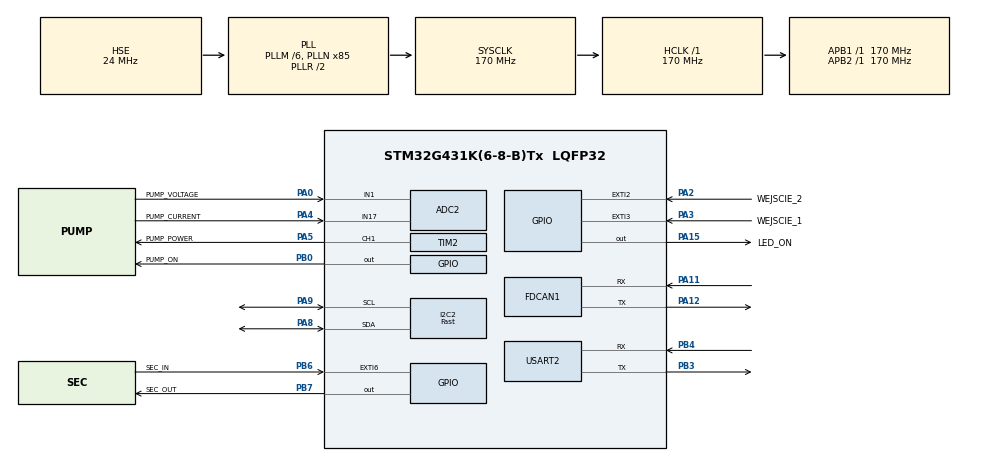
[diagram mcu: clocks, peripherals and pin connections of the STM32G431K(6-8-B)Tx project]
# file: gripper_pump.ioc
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ADC2.Channel-0\#ChannelRegularConversion=ADC_CHANNEL_1
ADC2.Channel-1\#ChannelRegularConversion=ADC_CHANNEL_17
ADC2.EnableAnalogWatchDog1=false
ADC2.NbrOfConversion=2
ADC2.NbrOfConversionFlag=1
ADC2.OffsetNumber-0\#ChannelRegularConversion=ADC_OFFSET_NONE
ADC2.OffsetNumber-1\#ChannelRegularConversion=ADC_OFFSET_NONE
ADC2.Rank-0\#ChannelRegularConversion=1
ADC2.Rank-1\#ChannelRegularConversion=2
ADC2.SamplingTime-0\#ChannelRegularConversion=ADC_SAMPLETIME_92CYCLES_5
ADC2.SamplingTime-1\#ChannelRegularConversion=ADC_SAMPLETIME_92CYCLES_5
FDCAN1.AutoRetransmission=ENABLE
FDCAN1.ClockDivider=FDCAN_CLOCK_DIV2
FDCAN1.DataSyncJumpWidth=2
FDCAN1.DataTimeSeg1=12
FDCAN1.DataTimeSeg2=4
FDCAN1.FrameFormat=FDCAN_FRAME_FD_BRS
FDCAN1.NominalPrescaler=5
FDCAN1.NominalSyncJumpWidth=2
FDCAN1.NominalTimeSeg1=12
FDCAN1.NominalTimeSeg2=4
FDCAN1.StdFiltersNbr=2
FDCAN1.TransmitPause=ENABLE
I2C2.I2C_Speed_Mode=I2C_Fast
I2C2.Timing=0x10802D9B
Mcu.Family=STM32G4
Mcu.Name=STM32G431K(6-8-B)Tx
Mcu.Package=LQFP32
NVIC.EXTI9_5_IRQn=true\:5\:0\:true\:false\:true\:true\:true\:true
NVIC.FDCAN1_IT0_IRQn=true\:5\:0\:true\:false\:true\:true\:true\:true
NVIC.PriorityGroup=NVIC_PRIORITYGROUP_4
NVIC.TIM6_DAC_IRQn=true\:5\:0\:true\:false\:true\:true\:true\:true
NVIC.TIM7_IRQn=true\:6\:0\:true\:false\:true\:true\:true\:true
PA0.GPIO_Label=PUMP_VOLTAGE
PA0.Signal=SharedAnalog_PA0
PA11.Mode=FDCAN_Activate
PA11.Signal=FDCAN1_RX
PA12.Mode=FDCAN_Activate
PA12.Signal=FDCAN1_TX
PA13.Mode=Serial_Wire
PA13.Signal=SYS_JTMS-SWDIO
PA14.Mode=Serial_Wire
PA14.Signal=SYS_JTCK-SWCLK
PA15.GPIO_Label=LED_ON
PA15.Signal=GPIO_Output
PA2.GPIO_Label=WEJSCIE_2
PA2.Signal=GPXTI2
PA3.GPIO_Label=WEJSCIE_1
PA3.Signal=GPXTI3
PA4.GPIO_Label=PUMP_CURRENT
PA4.Signal=SharedAnalog_PA4
PA5.GPIO_Label=PUMP_POWER
PA5.Signal=S_TIM2_CH1
PA8.Mode=I2C
PA8.Signal=I2C2_SDA
PA9.Mode=I2C
PA9.Signal=I2C2_SCL
PB0.GPIO_Label=PUMP_ON
PB0.Signal=GPIO_Output
PB3.Mode=Asynchronous
PB3.Signal=USART2_TX
PB4.Mode=Asynchronous
PB4.Signal=USART2_RX
PB6.GPIO_Label=SEC_IN
PB6.Signal=GPXTI6
PB7.GPIO_Label=SEC_OUT
PB7.Signal=GPIO_Output
PF0-OSC_IN.Mode=HSE-External-Oscillator
PF0-OSC_IN.Signal=RCC_OSC_IN
PF1-OSC_OUT.Mode=HSE-External-Oscillator
PF1-OSC_OUT.Signal=RCC_OSC_OUT
ProjectManager.HeapSize=0x200
ProjectManager.StackSize=0x400
ProjectManager.TargetToolchain=MDK-ARM V5.32
RCC.ADC12Freq_Value=170000000
RCC.AHBFreq_Value=170000000
RCC.APB1Freq_Value=170000000
RCC.APB1TimFreq_Value=170000000
RCC.APB2Freq_Value=170000000
RCC.APB2TimFreq_Value=170000000
RCC.CortexFreq_Value=170000000
RCC.EXTERNAL_CLOCK_VALUE=12288000
RCC.HCLKFreq_Value=170000000
RCC.HSE_VALUE=24000000
RCC.HSI48_VALUE=48000000
RCC.HSI_VALUE=16000000
RCC.LSE_VALUE=32768
RCC.PLLM=RCC_PLLM_DIV6
RCC.PLLN=85
RCC.PLLSourceVirtual=RCC_PLLSOURCE_HSE
RCC.SYSCLKFreq_VALUE=170000000
RCC.SYSCLKSource=RCC_SYSCLKSOURCE_PLLCLK
RCC.USBFreq_Value=170000000
RCC.VCOOutputFreq_Value=340000000
SH.S_TIM2_CH1.0=TIM2_CH1,PWM Generation1 CH1
SH.SharedAnalog_PA0.0=GPIO_Analog
SH.SharedAnalog_PA0.1=ADC2_IN1,IN1-Single-Ended
SH.SharedAnalog_PA4.0=GPIO_Analog
SH.SharedAnalog_PA4.1=ADC2_IN17,IN17-Single-Ended
TIM2.Channel-PWM\ Generation1\ CH1=TIM_CHANNEL_1
TIM2.PeriodNoDither=999
TIM2.Prescaler=1
TIM2.PulseNoDither_1=1
TIM6.PeriodNoDither=16999
TIM7.PeriodNoDither=16999
TIM7.Prescaler=9
USART2.VirtualMode-Asynchronous=VM_ASYNC
VP_SYS_VS_DBSignals.Mode=DisableDeadBatterySignals
VP_TIM6_VS_ClockSourceINT.Mode=Enable_Timer
VP_TIM7_VS_ClockSourceINT.Mode=Enable_Timer
board=custom

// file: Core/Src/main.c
/* USER CODE BEGIN Header */
/**
  ******************************************************************************
  * @file           : main.c
  * @brief          : Main program body
  ******************************************************************************
  * @attention
  *
  * Copyright (c) 2022 STMicroelectronics.
  * All rights reserved.
  *
  * This software is licensed under terms that can be found in the LICENSE file
  * in the root directory of this software component.
  * If no LICENSE file comes with this software, it is provided AS-IS.
  *
  ******************************************************************************
  */
/* USER CODE END Header */
#include "main.h"

/* USER CODE BEGIN Includes */
#include "fsm.h"

/* USER CODE END Includes */

/* USER CODE BEGIN PTD */
typedef struct Counters_Handle {
	uint32_t main_loop;
	uint32_t timer6;
	uint32_t timer7;
	uint32_t adc2_counter;
	uint32_t can_rx_counter;
	uint32_t can_tx_counter;
	uint32_t spi_rx_counter;
	uint32_t spi_tx_counter;
	uint32_t spi_txrx_counter;
} __attribute__ ((packed)) Counters_Handle_t;

typedef struct Gripper_Pump_Configuration_Handle {
	uint8_t can_node_id;
	bool safety_enabled;
//	bool canbus_enabled;
//	bool canbus_watchdog_enabled;
} __attribute__ ((packed)) Gripper_Pump_Configuration_Handle_t;

typedef struct Gripper_Pump_Command_Handle {
	bool enable_pump;			//
} __attribute__ ((packed)) Gripper_Pump_Command_Handle_t;
typedef struct _Status_Handle {
	uint16_t pump_current;
	uint16_t pump_voltage;
	bool b_pump_is_working; // current over "0" limit
	bool b_pressure_level_1; // input from sensor - level 1
	bool b_pressure_level_2; // input from sensor - level 2

	uint8_t errors;
	uint8_t warnings;
} __attribute__ ((packed)) Gripper_Pump_Status_Handle_t;
/* USER CODE END PTD */

 ADC_HandleTypeDef hadc2;

FDCAN_HandleTypeDef hfdcan1;

I2C_HandleTypeDef hi2c2;

TIM_HandleTypeDef htim2;
TIM_HandleTypeDef htim6;
TIM_HandleTypeDef htim7;

UART_HandleTypeDef huart2;

/* USER CODE BEGIN PV */
FDCAN_RxHeaderTypeDef can_rx_header; // CAN Bus Transmit Header
FDCAN_TxHeaderTypeDef can_tx_header; // CAN Bus Transmit Header
uint8_t can_rx_data[24] = {0,0,0,0,0,0,0,0,0,0,0,0,0,0,0,0,0,0,0,0,0,0,0,0};  //CAN Bus Receive Buffer
uint8_t can_tx_data[24] = {0,0,0,0,0,0,0,0,0,0,0,0,0,0,0,0,0,0,0,0,0,0,0,0};  //CAN Bus Send Buffer

Gripper_Pump_Configuration_Handle_t g_gripper_pump_configuration = {
	.safety_enabled = false,
	.can_node_id = 0x06,
};

volatile Counters_Handle_t g_counters = {
	.main_loop = 0,
	.timer6 = 0,
	.timer7 = 0,
	.spi_rx_counter = 0,
	.spi_tx_counter = 0,
	.spi_txrx_counter = 0,
};

volatile FSMStatus_t 	g_fsm_status = {
	.state = FSM_START,
	.state_is_running = false,
	.transition_is_running = false,
};

Gripper_Pump_Command_Handle_t g_gripper_pump_command = {
	.enable_pump = false,
};
volatile Gripper_Pump_Status_Handle_t 	g_gripper_pump_status = {

};

/* USER CODE END PV */

void SystemClock_Config(void);
static void MX_GPIO_Init(void);
static void MX_ADC2_Init(void);
static void MX_FDCAN1_Init(void);
static void MX_TIM6_Init(void);
static void MX_TIM7_Init(void);
static void MX_TIM2_Init(void);
static void MX_I2C2_Init(void);
static void MX_USART2_UART_Init(void);
/* USER CODE BEGIN PFP */
void Gripper_Pump_Init(void);
static void setPWM(TIM_HandleTypeDef, uint32_t, uint16_t, uint16_t);
/* USER CODE END PFP */

int main(void)
{

  /* MCU Configuration--------------------------------------------------------*/

  /* Reset of all peripherals, Initializes the Flash interface and the Systick. */
  HAL_Init();

  /* Configure the system clock */
  SystemClock_Config();

  /* Initialize all configured peripherals */
  MX_GPIO_Init();
  MX_ADC2_Init();
  MX_FDCAN1_Init();
  MX_TIM6_Init();
  MX_TIM7_Init();
  MX_TIM2_Init();
  MX_I2C2_Init();
  MX_USART2_UART_Init();
  /* USER CODE BEGIN 2 */
	Gripper_Pump_Init();
//	HAL_TIM_Base_Start_IT(&htim2);
//HAL_TIM_PWM_Start(&htim2, TIM_CHANNEL_1);
  /* USER CODE END 2 */

  /* Infinite loop */
  while (1)
  {

    /* USER CODE BEGIN 3 */
//		TIM2->CCR1 = 30;
//	HAL_TIM_PWM_Start(&htim2, TIM_CHANNEL_1);
		g_counters.main_loop++;
		 //TIM1->CCR1 = 30;
//		TIM2->CCR1 = 30;
//		HAL_TIM_PWM_Start(&htim2, TIM_CHANNEL_1);
  }
  /* USER CODE END 3 */
}

void SystemClock_Config(void)
{
  RCC_OscInitTypeDef RCC_OscInitStruct = {0};
  RCC_ClkInitTypeDef RCC_ClkInitStruct = {0};

  /** Configure the main internal regulator output voltage
  */
  HAL_PWREx_ControlVoltageScaling(PWR_REGULATOR_VOLTAGE_SCALE1_BOOST);

  /** Initializes the RCC Oscillators according to the specified parameters
  * in the RCC_OscInitTypeDef structure.
  */
  RCC_OscInitStruct.OscillatorType = RCC_OSCILLATORTYPE_HSE;
  RCC_OscInitStruct.HSEState = RCC_HSE_ON;
  RCC_OscInitStruct.PLL.PLLState = RCC_PLL_ON;
  RCC_OscInitStruct.PLL.PLLSource = RCC_PLLSOURCE_HSE;
  RCC_OscInitStruct.PLL.PLLM = RCC_PLLM_DIV6;
  RCC_OscInitStruct.PLL.PLLN = 85;
  RCC_OscInitStruct.PLL.PLLP = RCC_PLLP_DIV2;
  RCC_OscInitStruct.PLL.PLLQ = RCC_PLLQ_DIV2;
  RCC_OscInitStruct.PLL.PLLR = RCC_PLLR_DIV2;
  if (HAL_RCC_OscConfig(&RCC_OscInitStruct) != HAL_OK)
  {
    Error_Handler();
  }

  /** Initializes the CPU, AHB and APB buses clocks
  */
  RCC_ClkInitStruct.ClockType = RCC_CLOCKTYPE_HCLK|RCC_CLOCKTYPE_SYSCLK
                              |RCC_CLOCKTYPE_PCLK1|RCC_CLOCKTYPE_PCLK2;
  RCC_ClkInitStruct.SYSCLKSource = RCC_SYSCLKSOURCE_PLLCLK;
  RCC_ClkInitStruct.AHBCLKDivider = RCC_SYSCLK_DIV1;
  RCC_ClkInitStruct.APB1CLKDivider = RCC_HCLK_DIV1;
  RCC_ClkInitStruct.APB2CLKDivider = RCC_HCLK_DIV1;

  if (HAL_RCC_ClockConfig(&RCC_ClkInitStruct, FLASH_LATENCY_4) != HAL_OK)
  {
    Error_Handler();
  }
}

static void MX_ADC2_Init(void)
{

  ADC_ChannelConfTypeDef sConfig = {0};

  /** Common config
  */
  hadc2.Instance = ADC2;
  hadc2.Init.ClockPrescaler = ADC_CLOCK_SYNC_PCLK_DIV4;
  hadc2.Init.Resolution = ADC_RESOLUTION_12B;
  hadc2.Init.DataAlign = ADC_DATAALIGN_RIGHT;
  hadc2.Init.GainCompensation = 0;
  hadc2.Init.ScanConvMode = ADC_SCAN_ENABLE;
  hadc2.Init.EOCSelection = ADC_EOC_SINGLE_CONV;
  hadc2.Init.LowPowerAutoWait = DISABLE;
  hadc2.Init.ContinuousConvMode = DISABLE;
  hadc2.Init.NbrOfConversion = 2;
  hadc2.Init.DiscontinuousConvMode = DISABLE;
  hadc2.Init.ExternalTrigConv = ADC_SOFTWARE_START;
  hadc2.Init.ExternalTrigConvEdge = ADC_EXTERNALTRIGCONVEDGE_NONE;
  hadc2.Init.DMAContinuousRequests = DISABLE;
  hadc2.Init.Overrun = ADC_OVR_DATA_PRESERVED;
  hadc2.Init.OversamplingMode = DISABLE;
  if (HAL_ADC_Init(&hadc2) != HAL_OK)
  {
    Error_Handler();
  }

  /** Configure Regular Channel
  */
  sConfig.Channel = ADC_CHANNEL_1;
  sConfig.Rank = ADC_REGULAR_RANK_1;
  sConfig.SamplingTime = ADC_SAMPLETIME_92CYCLES_5;
  sConfig.SingleDiff = ADC_SINGLE_ENDED;
  sConfig.OffsetNumber = ADC_OFFSET_NONE;
  sConfig.Offset = 0;
  if (HAL_ADC_ConfigChannel(&hadc2, &sConfig) != HAL_OK)
  {
    Error_Handler();
  }

  /** Configure Regular Channel
  */
  sConfig.Channel = ADC_CHANNEL_17;
  sConfig.Rank = ADC_REGULAR_RANK_2;
  if (HAL_ADC_ConfigChannel(&hadc2, &sConfig) != HAL_OK)
  {
    Error_Handler();
  }

}

static void MX_FDCAN1_Init(void)
{

  hfdcan1.Instance = FDCAN1;
  hfdcan1.Init.ClockDivider = FDCAN_CLOCK_DIV2;
  hfdcan1.Init.FrameFormat = FDCAN_FRAME_FD_BRS;
  hfdcan1.Init.Mode = FDCAN_MODE_NORMAL;
  hfdcan1.Init.AutoRetransmission = ENABLE;
  hfdcan1.Init.TransmitPause = ENABLE;
  hfdcan1.Init.ProtocolException = DISABLE;
  hfdcan1.Init.NominalPrescaler = 5;
  hfdcan1.Init.NominalSyncJumpWidth = 2;
  hfdcan1.Init.NominalTimeSeg1 = 12;
  hfdcan1.Init.NominalTimeSeg2 = 4;
  hfdcan1.Init.DataPrescaler = 1;
  hfdcan1.Init.DataSyncJumpWidth = 2;
  hfdcan1.Init.DataTimeSeg1 = 12;
  hfdcan1.Init.DataTimeSeg2 = 4;
  hfdcan1.Init.StdFiltersNbr = 2;
  hfdcan1.Init.ExtFiltersNbr = 0;
  hfdcan1.Init.TxFifoQueueMode = FDCAN_TX_FIFO_OPERATION;
  if (HAL_FDCAN_Init(&hfdcan1) != HAL_OK)
  {
    Error_Handler();
  }

}

static void MX_I2C2_Init(void)
{

  hi2c2.Instance = I2C2;
  hi2c2.Init.Timing = 0x10802D9B;
  hi2c2.Init.OwnAddress1 = 0;
  hi2c2.Init.AddressingMode = I2C_ADDRESSINGMODE_7BIT;
  hi2c2.Init.DualAddressMode = I2C_DUALADDRESS_DISABLE;
  hi2c2.Init.OwnAddress2 = 0;
  hi2c2.Init.OwnAddress2Masks = I2C_OA2_NOMASK;
  hi2c2.Init.GeneralCallMode = I2C_GENERALCALL_DISABLE;
  hi2c2.Init.NoStretchMode = I2C_NOSTRETCH_DISABLE;
  if (HAL_I2C_Init(&hi2c2) != HAL_OK)
  {
    Error_Handler();
  }

  /** Configure Analogue filter
  */
  if (HAL_I2CEx_ConfigAnalogFilter(&hi2c2, I2C_ANALOGFILTER_ENABLE) != HAL_OK)
  {
    Error_Handler();
  }

  /** Configure Digital filter
  */
  if (HAL_I2CEx_ConfigDigitalFilter(&hi2c2, 0) != HAL_OK)
  {
    Error_Handler();
  }

}

static void MX_TIM2_Init(void)
{

  TIM_MasterConfigTypeDef sMasterConfig = {0};
  TIM_OC_InitTypeDef sConfigOC = {0};

  htim2.Instance = TIM2;
  htim2.Init.Prescaler = 1;
  htim2.Init.CounterMode = TIM_COUNTERMODE_UP;
  htim2.Init.Period = 999;
  htim2.Init.ClockDivision = TIM_CLOCKDIVISION_DIV1;
  htim2.Init.AutoReloadPreload = TIM_AUTORELOAD_PRELOAD_DISABLE;
  if (HAL_TIM_PWM_Init(&htim2) != HAL_OK)
  {
    Error_Handler();
  }
  sMasterConfig.MasterOutputTrigger = TIM_TRGO_RESET;
  sMasterConfig.MasterSlaveMode = TIM_MASTERSLAVEMODE_DISABLE;
  if (HAL_TIMEx_MasterConfigSynchronization(&htim2, &sMasterConfig) != HAL_OK)
  {
    Error_Handler();
  }
  sConfigOC.OCMode = TIM_OCMODE_PWM1;
  sConfigOC.Pulse = 1;
  sConfigOC.OCPolarity = TIM_OCPOLARITY_HIGH;
  sConfigOC.OCFastMode = TIM_OCFAST_DISABLE;
  if (HAL_TIM_PWM_ConfigChannel(&htim2, &sConfigOC, TIM_CHANNEL_1) != HAL_OK)
  {
    Error_Handler();
  }
  HAL_TIM_MspPostInit(&htim2);

}

static void MX_TIM6_Init(void)
{

  TIM_MasterConfigTypeDef sMasterConfig = {0};

  htim6.Instance = TIM6;
  htim6.Init.Prescaler = 0;
  htim6.Init.CounterMode = TIM_COUNTERMODE_UP;
  htim6.Init.Period = 16999;
  htim6.Init.AutoReloadPreload = TIM_AUTORELOAD_PRELOAD_DISABLE;
  if (HAL_TIM_Base_Init(&htim6) != HAL_OK)
  {
    Error_Handler();
  }
  sMasterConfig.MasterOutputTrigger = TIM_TRGO_RESET;
  sMasterConfig.MasterSlaveMode = TIM_MASTERSLAVEMODE_DISABLE;
  if (HAL_TIMEx_MasterConfigSynchronization(&htim6, &sMasterConfig) != HAL_OK)
  {
    Error_Handler();
  }

}

static void MX_TIM7_Init(void)
{

  TIM_MasterConfigTypeDef sMasterConfig = {0};

  htim7.Instance = TIM7;
  htim7.Init.Prescaler = 9;
  htim7.Init.CounterMode = TIM_COUNTERMODE_UP;
  htim7.Init.Period = 16999;
  htim7.Init.AutoReloadPreload = TIM_AUTORELOAD_PRELOAD_DISABLE;
  if (HAL_TIM_Base_Init(&htim7) != HAL_OK)
  {
    Error_Handler();
  }
  sMasterConfig.MasterOutputTrigger = TIM_TRGO_RESET;
  sMasterConfig.MasterSlaveMode = TIM_MASTERSLAVEMODE_DISABLE;
  if (HAL_TIMEx_MasterConfigSynchronization(&htim7, &sMasterConfig) != HAL_OK)
  {
    Error_Handler();
  }

}

static void MX_USART2_UART_Init(void)
{

  huart2.Instance = USART2;
  huart2.Init.BaudRate = 115200;
  huart2.Init.WordLength = UART_WORDLENGTH_8B;
  huart2.Init.StopBits = UART_STOPBITS_1;
  huart2.Init.Parity = UART_PARITY_NONE;
  huart2.Init.Mode = UART_MODE_TX_RX;
  huart2.Init.HwFlowCtl = UART_HWCONTROL_NONE;
  huart2.Init.OverSampling = UART_OVERSAMPLING_16;
  huart2.Init.OneBitSampling = UART_ONE_BIT_SAMPLE_DISABLE;
  huart2.Init.ClockPrescaler = UART_PRESCALER_DIV1;
  huart2.AdvancedInit.AdvFeatureInit = UART_ADVFEATURE_NO_INIT;
  if (HAL_UART_Init(&huart2) != HAL_OK)
  {
    Error_Handler();
  }
  if (HAL_UARTEx_SetTxFifoThreshold(&huart2, UART_TXFIFO_THRESHOLD_1_8) != HAL_OK)
  {
    Error_Handler();
  }
  if (HAL_UARTEx_SetRxFifoThreshold(&huart2, UART_RXFIFO_THRESHOLD_1_8) != HAL_OK)
  {
    Error_Handler();
  }
  if (HAL_UARTEx_DisableFifoMode(&huart2) != HAL_OK)
  {
    Error_Handler();
  }

}

static void MX_GPIO_Init(void)
{
  GPIO_InitTypeDef GPIO_InitStruct = {0};

  /* GPIO Ports Clock Enable */
  __HAL_RCC_GPIOF_CLK_ENABLE();
  __HAL_RCC_GPIOA_CLK_ENABLE();
  __HAL_RCC_GPIOB_CLK_ENABLE();

  /*Configure GPIO pin Output Level */
  HAL_GPIO_WritePin(GPIOB, PUMP_ON_Pin|SEC_OUT_Pin, GPIO_PIN_RESET);

  /*Configure GPIO pin Output Level */
  HAL_GPIO_WritePin(LED_ON_GPIO_Port, LED_ON_Pin, GPIO_PIN_RESET);

  /*Configure GPIO pins : WEJSCIE_2_Pin WEJSCIE_1_Pin */
  GPIO_InitStruct.Pin = WEJSCIE_2_Pin|WEJSCIE_1_Pin;
  GPIO_InitStruct.Mode = GPIO_MODE_IT_RISING;
  GPIO_InitStruct.Pull = GPIO_NOPULL;
  HAL_GPIO_Init(GPIOA, &GPIO_InitStruct);

  /*Configure GPIO pins : PUMP_ON_Pin SEC_OUT_Pin */
  GPIO_InitStruct.Pin = PUMP_ON_Pin|SEC_OUT_Pin;
  GPIO_InitStruct.Mode = GPIO_MODE_OUTPUT_PP;
  GPIO_InitStruct.Pull = GPIO_NOPULL;
  GPIO_InitStruct.Speed = GPIO_SPEED_FREQ_LOW;
  HAL_GPIO_Init(GPIOB, &GPIO_InitStruct);

  /*Configure GPIO pin : LED_ON_Pin */
  GPIO_InitStruct.Pin = LED_ON_Pin;
  GPIO_InitStruct.Mode = GPIO_MODE_OUTPUT_PP;
  GPIO_InitStruct.Pull = GPIO_NOPULL;
  GPIO_InitStruct.Speed = GPIO_SPEED_FREQ_LOW;
  HAL_GPIO_Init(LED_ON_GPIO_Port, &GPIO_InitStruct);

  /*Configure GPIO pin : SEC_IN_Pin */
  GPIO_InitStruct.Pin = SEC_IN_Pin;
  GPIO_InitStruct.Mode = GPIO_MODE_IT_RISING;
  GPIO_InitStruct.Pull = GPIO_NOPULL;
  HAL_GPIO_Init(SEC_IN_GPIO_Port, &GPIO_InitStruct);

  /* EXTI interrupt init*/
  HAL_NVIC_SetPriority(EXTI9_5_IRQn, 5, 0);
  HAL_NVIC_EnableIRQ(EXTI9_5_IRQn);

}

/* USER CODE BEGIN 4 */
void setPWM(TIM_HandleTypeDef timer, uint32_t channel, uint16_t period, uint16_t pulse)
{
 HAL_TIM_PWM_Stop(&timer, channel); // stop generation of pwm
 TIM_OC_InitTypeDef sConfigOC;
 timer.Init.Period = period; // set the period duration
 HAL_TIM_PWM_Init(&timer); // reinititialise with new period value
 sConfigOC.OCMode = TIM_OCMODE_PWM1;
 sConfigOC.Pulse = pulse; // set the pulse duration
 sConfigOC.OCPolarity = TIM_OCPOLARITY_HIGH;
 sConfigOC.OCFastMode = TIM_OCFAST_DISABLE;
 HAL_TIM_PWM_ConfigChannel(&timer, &sConfigOC, channel);
 HAL_TIM_PWM_Start(&timer, channel); // start pwm generation
}

void Gripper_Pump_Init() {
	// TIMERS
	HAL_TIM_Base_Start_IT(&htim6); 	// Enable 10 kHz timer for fast calculation
	HAL_TIM_Base_Start_IT(&htim7);  	// Enable  1 kHz timer for FSM
}

// CAN FD
void FDCAN_Set_Filters() {
	// CAN FILTERS
	FDCAN_FilterTypeDef   can_filter_config_0; // BROADCAST
	can_filter_config_0.IdType = FDCAN_STANDARD_ID;
	can_filter_config_0.FilterIndex = 0;
	can_filter_config_0.FilterType = FDCAN_FILTER_MASK;
	can_filter_config_0.FilterConfig = FDCAN_FILTER_TO_RXFIFO0;
	can_filter_config_0.FilterID1 = 0x0F0;
	can_filter_config_0.FilterID2 = 0x70F ;
	HAL_FDCAN_ConfigFilter(&hfdcan1, &can_filter_config_0); //Initialize CAN Filter

	FDCAN_FilterTypeDef   can_filter_config_1; // UNICAST
	can_filter_config_1.IdType = FDCAN_STANDARD_ID;
	can_filter_config_1.FilterIndex = 1;
	can_filter_config_1.FilterType = FDCAN_FILTER_MASK;
	can_filter_config_1.FilterConfig = FDCAN_FILTER_TO_RXFIFO0;
	can_filter_config_1.FilterID1 = 0x100 + g_gripper_pump_configuration.can_node_id;
	can_filter_config_1.FilterID2 = 0x70F;
	HAL_FDCAN_ConfigFilter(&hfdcan1, &can_filter_config_1); //Initialize CAN Filter

}

// FSM
void FSM_START_Callback()
{
	HAL_TIM_Base_Stop_IT(&htim6); // Disable 10 kHz timer

//	FLASH_Configuration_Load(); // Read configuration from FLASH

	// FDCAN
	HAL_FDCAN_ConfigTxDelayCompensation(&hfdcan1, 10, 0);
	HAL_FDCAN_EnableTxDelayCompensation(&hfdcan1);

	FDCAN_Set_Filters();

	HAL_FDCAN_ConfigGlobalFilter(&hfdcan1, 3, 3, FDCAN_FILTER_REMOTE, FDCAN_REJECT_REMOTE);
	HAL_FDCAN_Start(&hfdcan1); //Initialize CAN Bus
	HAL_FDCAN_ActivateNotification(&hfdcan1, FDCAN_IT_RX_FIFO0_NEW_MESSAGE, 0);// Initialize CAN Bus Rx Interrupt
	HAL_FDCAN_EnableISOMode(&hfdcan1);

	// Start ADC readings
	// HAL_ADC_Start_IT(&hadc2);

	HAL_TIM_Base_Start_IT(&htim6); // Enable 10 kHz timer
}

void FSM_READY_TO_OPERATE_Callback()
{
	g_gripper_pump_command.enable_pump = false;
	HAL_GPIO_WritePin(PUMP_ON_GPIO_Port, PUMP_ON_Pin, GPIO_PIN_RESET);
	HAL_GPIO_WritePin(LED_ON_GPIO_Port, LED_ON_Pin, GPIO_PIN_RESET);
	g_gripper_pump_status.b_pressure_level_1 = (HAL_GPIO_ReadPin(WEJSCIE_1_GPIO_Port, WEJSCIE_1_Pin) == GPIO_PIN_SET) ? (0) : (1);
	g_gripper_pump_status.b_pressure_level_2 = (HAL_GPIO_ReadPin(WEJSCIE_2_GPIO_Port, WEJSCIE_2_Pin) == GPIO_PIN_SET) ? (0) : (1);
}

void FSM_OPERATION_ENABLE_Callback()
{
	HAL_GPIO_WritePin(LED_ON_GPIO_Port, LED_ON_Pin, GPIO_PIN_SET);
	if (g_gripper_pump_command.enable_pump)
	{
		HAL_GPIO_WritePin(PUMP_ON_GPIO_Port, PUMP_ON_Pin, GPIO_PIN_SET);
	}
	else
	{
		HAL_GPIO_WritePin(PUMP_ON_GPIO_Port, PUMP_ON_Pin, GPIO_PIN_RESET);
	}
}

void HAL_ADC_ConvCpltCallback(ADC_HandleTypeDef* hadc)
{
  // Read & Update The ADC Result
  g_gripper_pump_status.pump_current = HAL_ADC_GetValue(&hadc2);
	g_counters.adc2_counter++;
	HAL_ADC_Start_IT(&hadc2);
}

void HAL_GPIO_EXTI_Callback(uint16_t GPIO_Pin)
{
	// SECURITY ALERT
    if(GPIO_Pin == SEC_IN_Pin && g_gripper_pump_configuration.safety_enabled == true && g_fsm_status.state == FSM_OPERATION_ENABLE) // If The INT Source Is EXTI Line9 (A9 Pin)
    {
			FSM_Activate_Transition(FSM_TRANSITION_OPERATION_ENABLE_TO_READY_TO_OPERATE);
    }
}

void HAL_TIM_PeriodElapsedCallback(TIM_HandleTypeDef *htim)
{
	if(htim->Instance == TIM2)
	{
		g_counters.spi_tx_counter++;
	}

	if(htim->Instance == TIM6) 	// 10kHz (5,0) - fast recalculation
	{
		g_counters.timer6++;
	}

	if(htim->Instance == TIM7) 	// 1kHz - FSM_Tasks
	{
		//setPWM(htim2, TIM_CHANNEL_1, 255, 100);
		// read
		g_gripper_pump_status.b_pressure_level_1 = (HAL_GPIO_ReadPin(WEJSCIE_1_GPIO_Port, WEJSCIE_1_Pin) == GPIO_PIN_SET) ? (0) : (1);
		g_gripper_pump_status.b_pressure_level_2 = (HAL_GPIO_ReadPin(WEJSCIE_2_GPIO_Port, WEJSCIE_2_Pin) == GPIO_PIN_SET) ? (0) : (1);

		// Start ADC Conversion
    HAL_ADC_Start(&hadc2);
    // Poll ADC1 Perihperal & TimeOut = 1mSec
    HAL_ADC_PollForConversion(&hadc2, 1);
    // Read The ADC Conversion Result & Map It To PWM DutyCycle
    g_gripper_pump_status.pump_current = HAL_ADC_GetValue(&hadc2);

		if (g_gripper_pump_status.pump_current > 500)
		{
			g_gripper_pump_status.b_pump_is_working = true;
		}
		else
		{
			g_gripper_pump_status.b_pump_is_working = false;
		}

		// FSM
		FSM_Tick();

		g_counters.timer7++;
	}
}

void HAL_FDCAN_RxFifo0Callback(FDCAN_HandleTypeDef *hfdcan1, uint32_t RxFifo0ITs)
{

	if((RxFifo0ITs & FDCAN_IT_RX_FIFO0_NEW_MESSAGE) != 0)
	{
		// RETRIEVE CAN MESSAGE -------------------------------------------------------------------------
		HAL_FDCAN_GetRxMessage(hfdcan1, FDCAN_RX_FIFO0, &can_rx_header, can_rx_data);
		g_counters.can_rx_counter++;

		// RESET SAFE TIMER -----------------------------------------------------------------------------
//		HAL_TIM_Base_Stop(&htim6);
//		TIM6->CNT = 0;
//		HAL_TIM_Base_Start_IT(&htim6);

		bool l_send_response = true;
		uint8_t l_cmd 	= (can_rx_header.Identifier & 0x0F0) >> 4; // Ustalenie polecenie
		bool l_unicast 	= (can_rx_header.Identifier & 0x100) >> 8; // Ustalenie typu transmisji: BROADCAST|UNICAST

		// CAN TRANSMITION CONFIGURATION
		can_tx_header.Identifier = can_rx_header.Identifier | g_gripper_pump_configuration.can_node_id | 0x01 << 9;
		can_tx_header.IdType = FDCAN_STANDARD_ID;
		can_tx_header.TxFrameType = FDCAN_DATA_FRAME;
		can_tx_header.DataLength = FDCAN_DLC_BYTES_12;
		can_tx_header.ErrorStateIndicator = FDCAN_ESI_ACTIVE;
		can_tx_header.BitRateSwitch = FDCAN_BRS_ON;
		can_tx_header.FDFormat = FDCAN_FD_CAN;
		can_tx_header.TxEventFifoControl = FDCAN_NO_TX_EVENTS;
		can_tx_header.MessageMarker = 0;

		// UPDATE JOINT INFO ----------------------------------------------------------------------------
		uint8_t numer_w_szeregu = 0;
		uint8_t dlugosc_danych_polecenia = 0;

		if (!l_unicast)
		{
			numer_w_szeregu = g_gripper_pump_configuration.can_node_id; // ???
		}

		switch (l_cmd) {

			case 0x0: // Wykonaj akcje
			{
				dlugosc_danych_polecenia = 2;
				uint8_t offset = dlugosc_danych_polecenia * numer_w_szeregu;

				g_gripper_pump_command.enable_pump = can_rx_data[offset];

				// -------------------------------------------------------------------------------------------------
				can_tx_data[0] 	= g_gripper_pump_status.b_pump_is_working;
				can_tx_data[1] 	= g_gripper_pump_status.b_pressure_level_1;
				can_tx_data[2] 	= g_gripper_pump_status.b_pressure_level_2;
				can_tx_data[9] 	= FSM_Get_State(); // FSM
				can_tx_data[12] = g_gripper_pump_status.errors;
				can_tx_data[13] = g_gripper_pump_status.warnings;

				can_tx_header.DataLength = FDCAN_DLC_BYTES_20;

				break;
			}
			case 0x1: // Zmien stan FSM
			{
				dlugosc_danych_polecenia = 1;
				// uint8_t - FSM
				uint8_t offset = dlugosc_danych_polecenia * numer_w_szeregu;

				FSM_Set_State(can_rx_data[offset]);

				can_tx_data[0] = FSM_Get_State();

				can_tx_header.DataLength = FDCAN_DLC_BYTES_1;
				break;
			}

			case 0xA: // RESET
			{
				l_send_response = false;
				NVIC_SystemReset();
				break;
			}

//			case 0xB: // SET CAN ID
//			{
//				if (FSM_Get_State() == FSM_INIT)
//				{
//					dlugosc_danych_polecenia = 1;
//					// uint8_t - can id
//					uint8_t offset = dlugosc_danych_polecenia * numer_w_szeregu;
//					g_gripper_pump_configuration.can_node_id = can_rx_data[offset]; // moze byc od 0 do F - TODO: zapis do FLASH i restart

//					// FLASH_Configuration_Save(); // flash configuration
//					FDCAN_Set_Filters(); // reload can filters

//					can_tx_data[0] = 1;
//				}
//				else
//				{
//					can_tx_data[0] = 0;
//				}

//				can_tx_header.DataLength = FDCAN_DLC_BYTES_1;
//				break;
//			}

			case 0xF: // Konfiguracja
			{
				dlugosc_danych_polecenia = 2;
				// uint8_t tryb pracy
				uint8_t offset = dlugosc_danych_polecenia * numer_w_szeregu;

				if (FSM_Get_State() == FSM_INIT || FSM_Get_State() == FSM_READY_TO_OPERATE)
				{
					g_gripper_pump_configuration.safety_enabled = (can_rx_data[offset + 1] & 0x04) >> 2;
					can_tx_data[0] = 1;
				}
				else
				{
					can_tx_data[0] = 0;
				}

				can_tx_header.DataLength = FDCAN_DLC_BYTES_1;
				break;
			}

			default:
			{
				l_send_response = false;

			}

		}

		//	SEND FRAME VIA FD CAN -------------------------------------------------------------------------------
		if (HAL_FDCAN_AddMessageToTxFifoQ(hfdcan1, &can_tx_header, can_tx_data) == HAL_OK && l_send_response)
		{
			g_counters.can_tx_counter++;
		}

		// clear global rx and tx buffer
		for (int i = 0; i < 24; i++)
		{
			can_rx_data[i]	= 0;
			can_tx_data[i]	= 0;
		}
	}
}

/* USER CODE END 4 */

void Error_Handler(void)
{
  __disable_irq();
  while (1)
  {
  }
}
